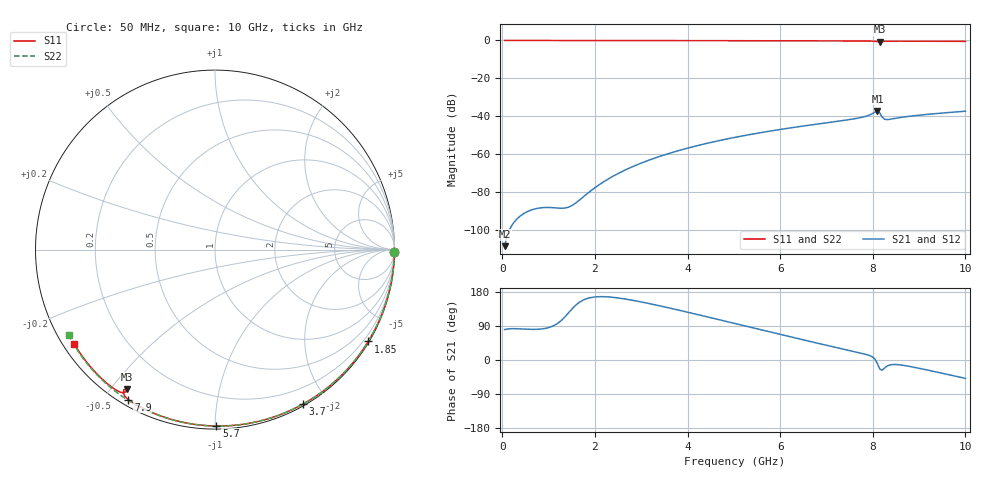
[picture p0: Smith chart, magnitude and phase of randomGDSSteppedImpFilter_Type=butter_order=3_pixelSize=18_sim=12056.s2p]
! freq	dB(S11)	phase(S11)	dB(S12)	phase(S12)
!  dB(S21)	phase(S21)	dB(S22)	phase(S22)
!S-par simulation data
#  GHz  S  DB  R 50
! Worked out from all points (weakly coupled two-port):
!   200 points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, 50 MHz to 10 GHz, reference 50 ohm
!   highest |S21| = -37.24 dB at 8.1 GHz (marker M1); lowest = -108.6 dB at 50 MHz (marker M2)
!   lowest |S11| = -0.7 dB at 8.15 GHz (marker M3), VSWR 24.68, Z = 2.64 - j27.5 ohm
!   |S11| at or under -10 dB: nowhere
!   |S22| runs from -0.5 to 0.0 dB; largest |S21 - S12| = 0
!   S11 on the Smith chart (normalised r, x): 50 MHz: open; 1.85 GHz: 0.03, -3.61; 3.7 GHz: 0.02, -1.72; 5.7 GHz: 0.02, -1.01; 7.9 GHz: 0.02, -0.58; 10 GHz: 0.03, -0.30
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0.05  -0.00 -0.9  -108.63 80.5  -108.63 80.5  -0.00 -0.9
0.9  -0.02 -15.2  -88.23 82.8  -88.23 82.8  -0.02 -15.5
1.75  -0.04 -29.3  -82.58 158.2  -82.58 158.2  -0.04 -29.9
1.85  -0.04 -30.9  -80.58 162.9  -80.58 162.9  -0.04 -31.6
2.25  -0.05 -37.4  -73.70 166.8  -73.70 166.8  -0.05 -38.2
2.55  -0.05 -42.3  -69.65 162.9  -69.65 162.9  -0.06 -43.1
2.95  -0.06 -48.6  -65.24 154.4  -65.24 154.4  -0.06 -49.6
3.4  -0.07 -55.7  -61.22 142.9  -61.22 142.9  -0.07 -56.8
3.7  -0.08 -60.3  -58.92 134.7  -58.92 134.7  -0.08 -61.5
4.35  -0.10 -70.1  -54.72 116.1  -54.72 116.1  -0.10 -71.4
5.05  -0.12 -80.3  -51.04 95.6  -51.04 95.6  -0.13 -81.9
5.7  -0.15 -89.6  -48.19 76.5  -48.19 76.5  -0.15 -91.3
6.7  -0.20 -103.4  -44.49 47.4  -44.49 47.4  -0.20 -105.4
7.55  -0.26 -114.9  -41.57 23.4  -41.57 23.4  -0.26 -116.9
7.9  -0.31 -120.0  -39.65 13.1  -39.65 13.1  -0.29 -121.6
8.1  -0.62 -123.0  -37.24 -9.6  -37.24 -9.6  -0.30 -124.3
8.15  -0.70 -122.3  -38.22 -23.7  -38.22 -23.7  -0.31 -125.0
8.2  -0.59 -122.0  -40.34 -27.1  -40.34 -27.1  -0.31 -125.7
8.25  -0.48 -122.6  -41.54 -21.8  -41.54 -21.8  -0.32 -126.3
8.35  -0.40 -124.2  -41.69 -13.8  -41.69 -13.8  -0.33 -127.7
8.95  -0.39 -132.5  -39.59 -20.6  -39.59 -20.6  -0.38 -135.6
10  -0.50 -146.1  -37.37 -48.5  -37.37 -48.5  -0.50 -149.6
